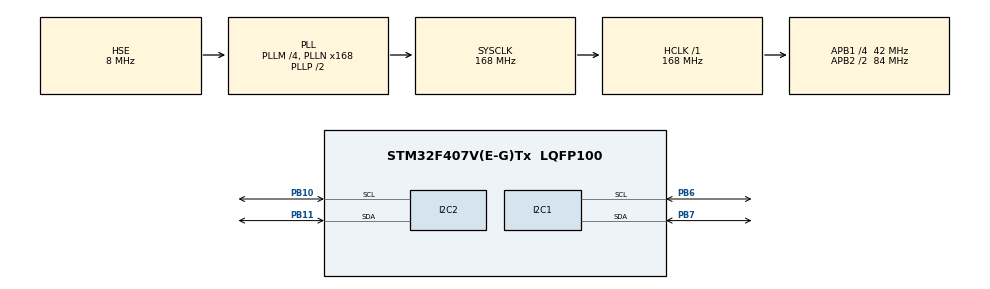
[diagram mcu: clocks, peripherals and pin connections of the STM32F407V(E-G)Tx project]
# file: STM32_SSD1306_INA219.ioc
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I2C1.I2C_Mode=I2C_Fast
I2C2.I2C_Mode=I2C_Fast
Mcu.Family=STM32F4
Mcu.Name=STM32F407V(E-G)Tx
Mcu.Package=LQFP100
NVIC.PriorityGroup=NVIC_PRIORITYGROUP_4
PB10.Mode=I2C
PB10.Signal=I2C2_SCL
PB11.Mode=I2C
PB11.Signal=I2C2_SDA
PB6.Mode=I2C
PB6.Signal=I2C1_SCL
PB7.Mode=I2C
PB7.Signal=I2C1_SDA
PH0-OSC_IN.Mode=HSE-External-Oscillator
PH0-OSC_IN.Signal=RCC_OSC_IN
PH1-OSC_OUT.Mode=HSE-External-Oscillator
PH1-OSC_OUT.Signal=RCC_OSC_OUT
ProjectManager.HeapSize=0x200
ProjectManager.StackSize=0x400
ProjectManager.TargetToolchain=STM32CubeIDE
RCC.48MHZClocksFreq_Value=84000000
RCC.AHBFreq_Value=168000000
RCC.APB1CLKDivider=RCC_HCLK_DIV4
RCC.APB1Freq_Value=42000000
RCC.APB1TimFreq_Value=84000000
RCC.APB2CLKDivider=RCC_HCLK_DIV2
RCC.APB2Freq_Value=84000000
RCC.APB2TimFreq_Value=168000000
RCC.CortexFreq_Value=168000000
RCC.HCLKFreq_Value=168000000
RCC.HSE_VALUE=8000000
RCC.HSI_VALUE=16000000
RCC.LSE_VALUE=32768
RCC.PLLM=4
RCC.PLLN=168
RCC.PLLSourceVirtual=RCC_PLLSOURCE_HSE
RCC.SYSCLKFreq_VALUE=168000000
RCC.SYSCLKSource=RCC_SYSCLKSOURCE_PLLCLK
RCC.VCOOutputFreq_Value=336000000
board=custom

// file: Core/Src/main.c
/* USER CODE BEGIN Header */
/**
  ******************************************************************************
  * @file           : main.c
  * @brief          : Main program body
  ******************************************************************************
  * @attention
  *
  * <h2><center>&copy; Copyright (c) 2021 STMicroelectronics.
  * All rights reserved.</center></h2>
  *
  * This software component is licensed by ST under BSD 3-Clause license,
  * the "License"; You may not use this file except in compliance with the
  * License. You may obtain a copy of the License at:
  *                        opensource.org/licenses/BSD-3-Clause
  *
  ******************************************************************************
  */
/* USER CODE END Header */
#include "main.h"

/* USER CODE BEGIN Includes */
#include "ssd1306.h"
#include "ina219.h"
/* USER CODE END Includes */

I2C_HandleTypeDef hi2c1;
I2C_HandleTypeDef hi2c2;

/* USER CODE BEGIN PV */
float current,voltage;
char lcd_buffer[25];
/* USER CODE END PV */

void SystemClock_Config(void);
static void MX_GPIO_Init(void);
static void MX_I2C1_Init(void);
static void MX_I2C2_Init(void);

int main(void)
{

  /* MCU Configuration--------------------------------------------------------*/

  /* Reset of all peripherals, Initializes the Flash interface and the Systick. */
  HAL_Init();

  /* Configure the system clock */
  SystemClock_Config();

  /* Initialize all configured peripherals */
  MX_GPIO_Init();
  MX_I2C1_Init();
  MX_I2C2_Init();
  /* USER CODE BEGIN 2 */
  ssd1306_Init();
  setCalibration_16V_400mA();
  HAL_Delay(50);
  /* USER CODE END 2 */

  /* Infinite loop */
  while (1)
  {

    /* USER CODE BEGIN 3 */
	  current = getCurrent_mA();
	  voltage = getBusVoltage_V();

	  sprintf(lcd_buffer,"Current: %2f mA",current);
	  ssd1306_SetCursor(0,0);
      ssd1306_WriteString(lcd_buffer, Font_7x10, White);

	  sprintf(lcd_buffer,"Voltage: %2f V",voltage);
	  ssd1306_SetCursor(0,12);
      ssd1306_WriteString(lcd_buffer, Font_7x10, White);

      ssd1306_UpdateScreen();
      HAL_Delay(250);
      ssd1306_Fill(Black);
  }
  /* USER CODE END 3 */
}

void SystemClock_Config(void)
{
  RCC_OscInitTypeDef RCC_OscInitStruct = {0};
  RCC_ClkInitTypeDef RCC_ClkInitStruct = {0};

  /** Configure the main internal regulator output voltage
  */
  __HAL_RCC_PWR_CLK_ENABLE();
  __HAL_PWR_VOLTAGESCALING_CONFIG(PWR_REGULATOR_VOLTAGE_SCALE1);
  /** Initializes the RCC Oscillators according to the specified parameters
  * in the RCC_OscInitTypeDef structure.
  */
  RCC_OscInitStruct.OscillatorType = RCC_OSCILLATORTYPE_HSE;
  RCC_OscInitStruct.HSEState = RCC_HSE_ON;
  RCC_OscInitStruct.PLL.PLLState = RCC_PLL_ON;
  RCC_OscInitStruct.PLL.PLLSource = RCC_PLLSOURCE_HSE;
  RCC_OscInitStruct.PLL.PLLM = 4;
  RCC_OscInitStruct.PLL.PLLN = 168;
  RCC_OscInitStruct.PLL.PLLP = RCC_PLLP_DIV2;
  RCC_OscInitStruct.PLL.PLLQ = 4;
  if (HAL_RCC_OscConfig(&RCC_OscInitStruct) != HAL_OK)
  {
    Error_Handler();
  }
  /** Initializes the CPU, AHB and APB buses clocks
  */
  RCC_ClkInitStruct.ClockType = RCC_CLOCKTYPE_HCLK|RCC_CLOCKTYPE_SYSCLK
                              |RCC_CLOCKTYPE_PCLK1|RCC_CLOCKTYPE_PCLK2;
  RCC_ClkInitStruct.SYSCLKSource = RCC_SYSCLKSOURCE_PLLCLK;
  RCC_ClkInitStruct.AHBCLKDivider = RCC_SYSCLK_DIV1;
  RCC_ClkInitStruct.APB1CLKDivider = RCC_HCLK_DIV4;
  RCC_ClkInitStruct.APB2CLKDivider = RCC_HCLK_DIV2;

  if (HAL_RCC_ClockConfig(&RCC_ClkInitStruct, FLASH_LATENCY_5) != HAL_OK)
  {
    Error_Handler();
  }
}

static void MX_I2C1_Init(void)
{

  hi2c1.Instance = I2C1;
  hi2c1.Init.ClockSpeed = 400000;
  hi2c1.Init.DutyCycle = I2C_DUTYCYCLE_2;
  hi2c1.Init.OwnAddress1 = 0;
  hi2c1.Init.AddressingMode = I2C_ADDRESSINGMODE_7BIT;
  hi2c1.Init.DualAddressMode = I2C_DUALADDRESS_DISABLE;
  hi2c1.Init.OwnAddress2 = 0;
  hi2c1.Init.GeneralCallMode = I2C_GENERALCALL_DISABLE;
  hi2c1.Init.NoStretchMode = I2C_NOSTRETCH_DISABLE;
  if (HAL_I2C_Init(&hi2c1) != HAL_OK)
  {
    Error_Handler();
  }

}

static void MX_I2C2_Init(void)
{

  hi2c2.Instance = I2C2;
  hi2c2.Init.ClockSpeed = 400000;
  hi2c2.Init.DutyCycle = I2C_DUTYCYCLE_2;
  hi2c2.Init.OwnAddress1 = 0;
  hi2c2.Init.AddressingMode = I2C_ADDRESSINGMODE_7BIT;
  hi2c2.Init.DualAddressMode = I2C_DUALADDRESS_DISABLE;
  hi2c2.Init.OwnAddress2 = 0;
  hi2c2.Init.GeneralCallMode = I2C_GENERALCALL_DISABLE;
  hi2c2.Init.NoStretchMode = I2C_NOSTRETCH_DISABLE;
  if (HAL_I2C_Init(&hi2c2) != HAL_OK)
  {
    Error_Handler();
  }

}

static void MX_GPIO_Init(void)
{

  /* GPIO Ports Clock Enable */
  __HAL_RCC_GPIOH_CLK_ENABLE();
  __HAL_RCC_GPIOB_CLK_ENABLE();

}

void Error_Handler(void)
{
  __disable_irq();
  while (1)
  {
  }
}

/************************ (C) COPYRIGHT STMicroelectronics *****END OF FILE****/
